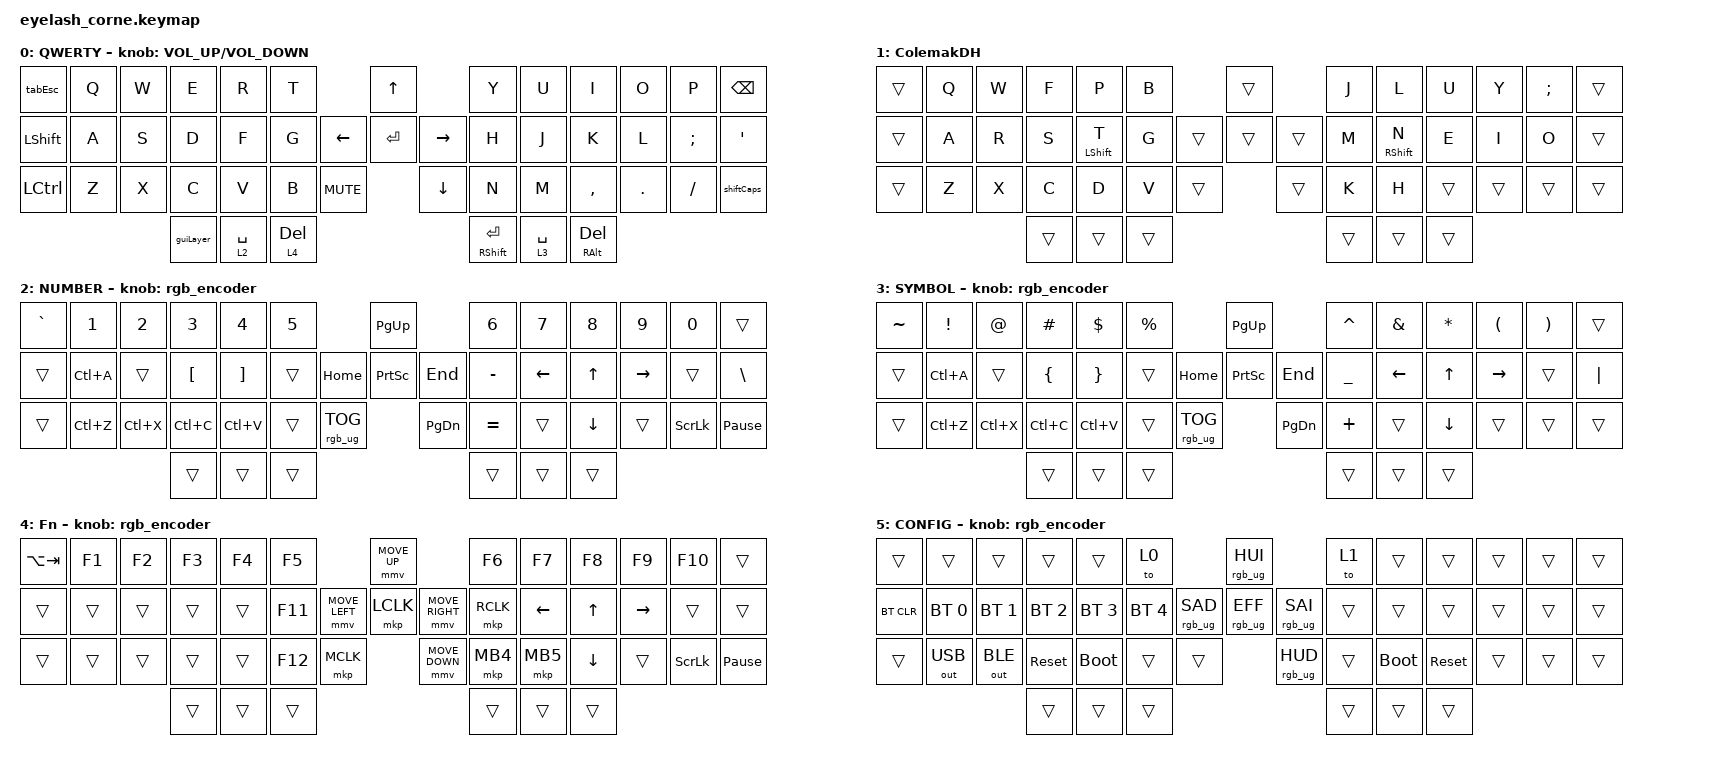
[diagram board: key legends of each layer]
#define ZMK_POINTING_DEFAULT_MOVE_VAL 1200  // 600
#define ZMK_POINTING_DEFAULT_SCRL_VAL 25   // 10

#include <input/processors.dtsi>
#include <zephyr/dt-bindings/input/input-event-codes.h>
#include <behaviors.dtsi>
#include <dt-bindings/zmk/bt.h>
#include <dt-bindings/zmk/keys.h>
#include <dt-bindings/zmk/outputs.h>
#include <dt-bindings/zmk/pointing.h>
#include <dt-bindings/zmk/rgb.h>

&mmv_input_listener { input-processors = <&zip_xy_scaler 2 1>; };

&msc_input_listener { input-processors = <&zip_scroll_scaler 2 1>; };

&msc {
    acceleration-exponent = <1>;      // 0
    time-to-max-speed-ms = <100>;       // 300
    delay-ms = <0>;                   // 0
};

&mmv {
    time-to-max-speed-ms = <500>;
    acceleration-exponent = <1>;
    trigger-period-ms = <16>;
};

&soft_off { hold-time-ms = <2000>; };

/ {
    behaviors {
        shiftCaps: shiftCaps {
            compatible = "zmk,behavior-tap-dance";
            display-name = "SHIFTCAPS";
            #binding-cells = <0>;
            bindings = <&kp LEFT_SHIFT>, <&kp CAPS>;
        };

        tabEsc: tabEsc {
            compatible = "zmk,behavior-tap-dance";
            display-name = "TABESC";
            #binding-cells = <0>;
            bindings = <&kp TAB>, <&kp ESC>;
        };

        HoldTap: HoldTap {
            compatible = "zmk,behavior-hold-tap";
            display-name = "HM";
            bindings = <&kp>, <&kp>;

            #binding-cells = <2>;
            tapping-term-ms = <200>;
            flavor = "hold-preferred";
        };

        guiLayer: guiLayer {
            compatible = "zmk,behavior-tap-dance";
            display-name = "GUILAYER";
            #binding-cells = <0>;
            bindings = <&mo 3>, <&kp LEFT_GUI>;
        };

        hmR: hmR {
            compatible = "zmk,behavior-hold-tap";
            label = "HMR";
            bindings = <&kp>, <&kp>;

            #binding-cells = <2>;
            flavor = "tap-preferred";
            hold-trigger-key-positions = <18 33 5 4 17 32 31 16 3 2 15 30 29 14 1>;
            tapping-term-ms = <200>;
        };

        hmL: hmL {
            compatible = "zmk,behavior-hold-tap";
            label = "HML";
            bindings = <&kp>, <&kp>;

            #binding-cells = <2>;
            tapping-term-ms = <200>;
            flavor = "tap-preferred";
            hold-trigger-key-positions = <7 22 8 23 36 37 38 24 9 10 25 39 40 26 11>;
        };

        mmv {
            acceleration-exponent = <1>;      // 1
            time-to-max-speed-ms = <900>;    // 40
            delay-ms = <0>;                   // 0
        };

        msc {
            acceleration-exponent = <1>;      // 0
            time-to-max-speed-ms = <400>;      // 500
            delay-ms = <0>;                   // 10
        };
    };

    rgb_encoder: rgb_encoder {
        compatible = "zmk,behavior-sensor-rotate";
        #sensor-binding-cells = <0>;
        bindings = <&rgb_ug RGB_BRI>, <&rgb_ug RGB_BRD>;
    };

    scroll_encoder: scroll_encoder {
        compatible = "zmk,behavior-sensor-rotate";
        #sensor-binding-cells = <0>;
        bindings = <&msc SCRL_DOWN>, <&msc SCRL_UP>;

        tap-ms = <100>;
    };

    combos {
        compatible = "zmk,combos";

        softoff {
            bindings = <&soft_off>;
            key-positions = <1 15 29>;
        };
    };

    keymap {
        compatible = "zmk,keymap";

        default_layer {
            display-name = "QWERTY";
            bindings = <
&tabEsc         &kp Q  &kp W  &kp E      &kp R        &kp T                                 &kp UP                &kp Y                       &kp U        &kp I                      &kp O    &kp P     &kp BSPC
&kp LEFT_SHIFT  &kp A  &kp S  &kp D      &kp F        &kp G                       &kp LEFT  &kp ENTER  &kp RIGHT  &kp H                       &kp J        &kp K                      &kp L    &kp SEMI  &kp SQT
&kp LCTRL       &kp Z  &kp X  &kp C      &kp V        &kp B         &kp C_MUTE              &kp DOWN              &kp N                       &kp M        &kp COMMA                  &kp DOT  &kp FSLH  &shiftCaps
                              &guiLayer  &lt 2 SPACE  &lt 4 DELETE                                                &HoldTap RIGHT_SHIFT ENTER  &lt 3 SPACE  &HoldTap RIGHT_ALT DELETE
            >;

            sensor-bindings = <&inc_dec_kp C_VOLUME_UP C_VOLUME_DOWN>;
        };

        ColemakDH {
            display-name = "ColemakDH";
            bindings = <
&trans  &kp Q  &kp W  &kp F   &kp P              &kp B                     &trans          &kp J   &kp L               &kp U   &kp Y   &kp SEMI  &trans
&trans  &kp A  &kp R  &kp S   &hmL LEFT_SHIFT T  &kp G             &trans  &trans  &trans  &kp M   &hmR RIGHT_SHIFT N  &kp E   &kp I   &kp O     &trans
&trans  &kp Z  &kp X  &kp C   &kp D              &kp V   &trans            &trans          &kp K   &kp H               &trans  &trans  &trans    &trans
                      &trans  &trans             &trans                                    &trans  &trans              &trans
            >;
        };

        Number {
            display-name = "NUMBER";
            bindings = <
&kp GRAVE  &kp N1     &kp N2     &kp N3            &kp N4             &kp N5                               &kp PAGE_UP               &kp N6     &kp N7    &kp N8    &kp N9     &kp N0          &trans
&trans     &kp LC(A)  &trans     &kp LEFT_BRACKET  &kp RIGHT_BRACKET  &trans                     &kp HOME  &kp PRINTSCREEN  &kp END  &kp MINUS  &kp LEFT  &kp UP    &kp RIGHT  &trans          &kp BACKSLASH
&trans     &kp LC(Z)  &kp LC(X)  &kp LC(C)         &kp LC(V)          &trans  &rgb_ug RGB_TOG              &kp PAGE_DOWN             &kp EQUAL  &trans    &kp DOWN  &trans     &kp SCROLLLOCK  &kp PAUSE_BREAK
                                 &trans            &trans             &trans                                                         &trans     &trans    &trans
            >;

            sensor-bindings = <&rgb_encoder>;
        };

        SYMBOLS {
            display-name = "SYMBOL";
            bindings = <
&kp TILDE  &kp EXCLAMATION  &kp AT_SIGN  &kp HASH        &kp DOLLAR       &kp PERCENT                               &kp PAGE_UP               &kp CARET  &kp AMPERSAND  &kp ASTERISK    &kp LEFT_PARENTHESIS  &kp RIGHT_PARENTHESIS  &trans
&trans     &kp LC(A)        &trans       &kp LEFT_BRACE  &kp RIGHT_BRACE  &trans                          &kp HOME  &kp PRINTSCREEN  &kp END  &kp UNDER  &kp LEFT       &kp UP_ARROW    &kp RIGHT             &trans                 &kp PIPE
&trans     &kp LC(Z)        &kp LC(X)    &kp LC(C)       &kp LC(V)        &trans       &rgb_ug RGB_TOG              &kp PAGE_DOWN             &kp PLUS   &trans         &kp DOWN_ARROW  &trans                &trans                 &trans
                                         &trans          &trans           &trans                                                              &trans     &trans         &trans
            >;

            sensor-bindings = <&rgb_encoder>;
        };

        Fn {
            display-name = "Fn";
            bindings = <
&kp LA(TAB)  &kp F1  &kp F2  &kp F3  &kp F4  &kp F5                                &mmv MOVE_UP                     &kp F6     &kp F7    &kp F8    &kp F9     &kp F10         &trans
&trans       &trans  &trans  &trans  &trans  &kp F11               &mmv MOVE_LEFT  &mkp LCLK       &mmv MOVE_RIGHT  &mkp RCLK  &kp LEFT  &kp UP    &kp RIGHT  &trans          &trans
&trans       &trans  &trans  &trans  &trans  &kp F12  &mkp MCLK                    &mmv MOVE_DOWN                   &mkp MB4   &mkp MB5  &kp DOWN  &trans     &kp SCROLLLOCK  &kp PAUSE_BREAK
                             &trans  &trans  &trans                                                                 &trans     &trans    &trans
            >;

            sensor-bindings = <&rgb_encoder>;
        };

        CONFIG {
            display-name = "CONFIG";
            bindings = <
&trans      &trans        &trans        &trans        &trans        &to 0                                    &rgb_ug RGB_HUI                   &to 1   &trans       &trans      &trans  &trans  &trans
&bt BT_CLR  &bt BT_SEL 0  &bt BT_SEL 1  &bt BT_SEL 2  &bt BT_SEL 3  &bt BT_SEL 4            &rgb_ug RGB_SAD  &rgb_ug RGB_EFF  &rgb_ug RGB_SAI  &trans  &trans       &trans      &trans  &trans  &trans
&trans      &out OUT_USB  &out OUT_BLE  &sys_reset    &bootloader   &trans        &trans                     &rgb_ug RGB_HUD                   &trans  &bootloader  &sys_reset  &trans  &trans  &trans
                                        &trans        &trans        &trans                                                                     &trans  &trans       &trans
            >;

            sensor-bindings = <&rgb_encoder>;
        };

        layer_4 {
            status = "reserved";
            bindings = <
&trans  &trans  &trans  &trans  &trans  &trans                    &trans          &trans  &trans  &trans  &trans  &trans  &trans
&trans  &trans  &trans  &trans  &trans  &trans            &trans  &trans  &trans  &trans  &trans  &trans  &trans  &trans  &trans
&trans  &trans  &trans  &trans  &trans  &trans  &trans            &trans          &trans  &trans  &trans  &trans  &trans  &trans
                        &trans  &trans  &trans                                    &trans  &trans  &trans
            >;

            sensor-bindings = <&inc_dec_kp C_VOLUME_UP C_VOLUME_DOWN>;
        };

        layer_5 {
            status = "reserved";
            bindings = <
&trans  &trans  &trans  &trans  &trans  &trans                    &trans          &trans  &trans  &trans  &trans  &trans  &trans
&trans  &trans  &trans  &trans  &trans  &trans            &trans  &trans  &trans  &trans  &trans  &trans  &trans  &trans  &trans
&trans  &trans  &trans  &trans  &trans  &trans  &trans            &trans          &trans  &trans  &trans  &trans  &trans  &trans
                        &trans  &trans  &trans                                    &trans  &trans  &trans
            >;

            sensor-bindings = <&inc_dec_kp C_VOLUME_UP C_VOLUME_DOWN>;
        };

        layer_6 {
            status = "reserved";
            bindings = <
&trans  &trans  &trans  &trans  &trans  &trans                    &trans          &trans  &trans  &trans  &trans  &trans  &trans
&trans  &trans  &trans  &trans  &trans  &trans            &trans  &trans  &trans  &trans  &trans  &trans  &trans  &trans  &trans
&trans  &trans  &trans  &trans  &trans  &trans  &trans            &trans          &trans  &trans  &trans  &trans  &trans  &trans
                        &trans  &trans  &trans                                    &trans  &trans  &trans
            >;

            sensor-bindings = <&inc_dec_kp C_VOLUME_UP C_VOLUME_DOWN>;
        };
    };

    conditional_layers {
        compatible = "zmk,conditional-layers";

        ConfigTrigger1 {
            if-layers = <2 4>;
            then-layer = <5>;
        };

        ConfigTrigger2 {
            if-layers = <2 3>;
            then-layer = <5>;
        };

        ConfigTrigger3 {
            if-layers = <3 4>;
            then-layer = <5>;
        };
    };
};
